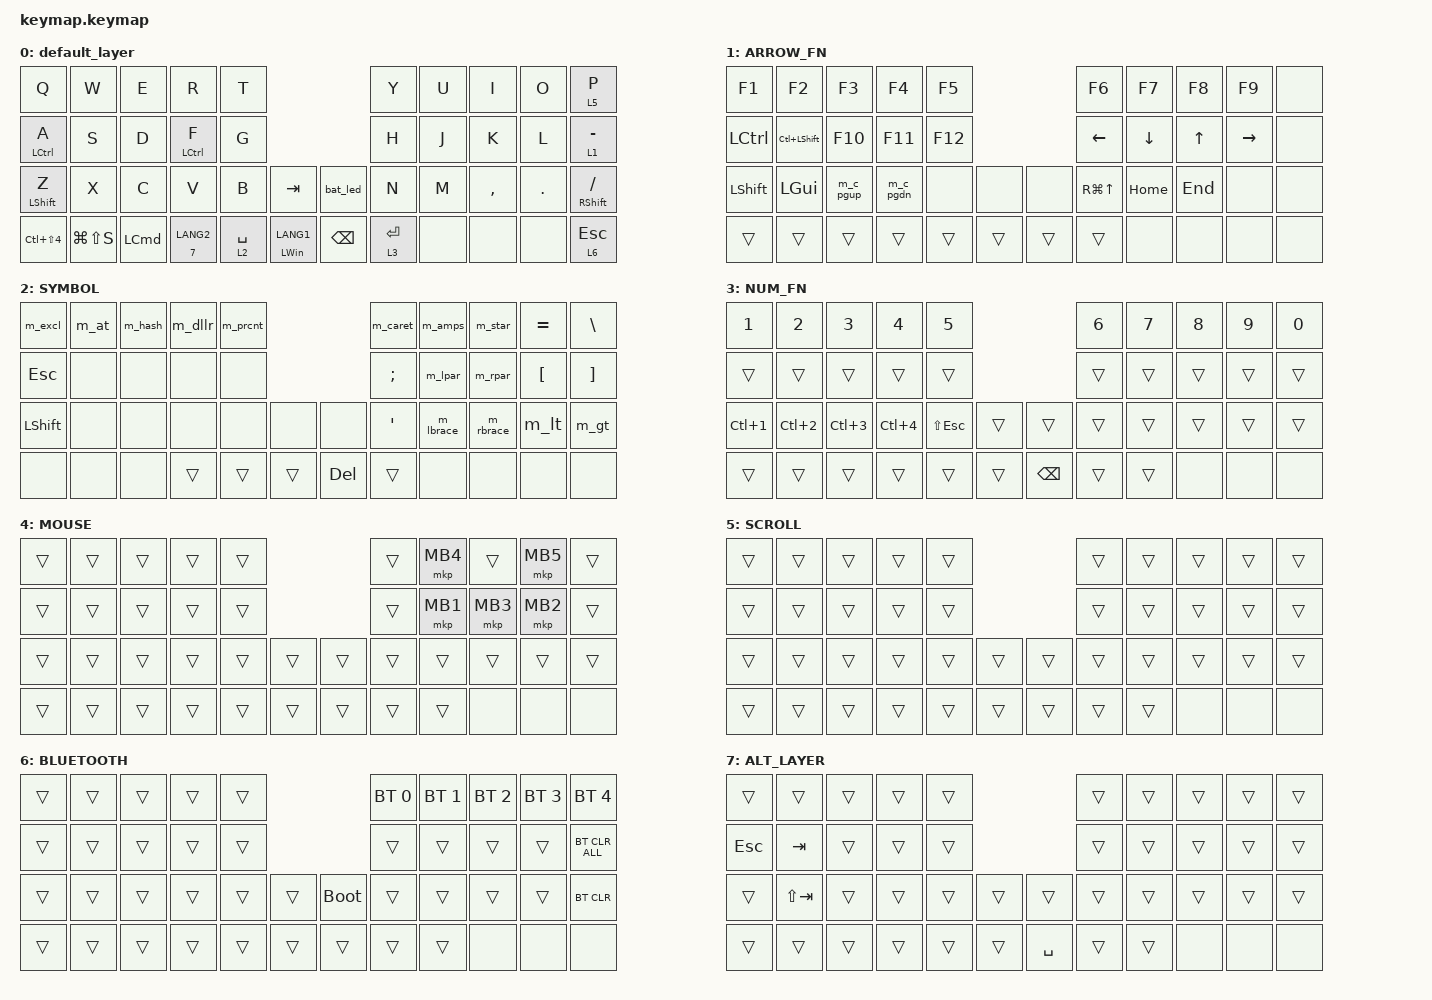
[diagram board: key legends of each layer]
/*
 * torabo-tsuki LP キーマップ設定 (zmk-config-roBa 移植版)
 * - レイヤー定義 (0:default 1:ARROW_FN 2:SYMBOL 3:NUM_FN 4:MOUSE 5:SCROLL 6:BLUETOOTH 7:ALT_LAYER)
 * - コンボ
 * - マクロ
 */

#define ZMK_POINTING_DEFAULT_SCRL_VAL 80

#include <behaviors.dtsi>
#include <dt-bindings/zmk/bt.h>
#include <dt-bindings/zmk/keys.h>
#include <dt-bindings/zmk/pointing.h>

&mt {
    flavor = "balanced";
    quick-tap-ms = <0>;
    tapping-term-ms = <180>;
};

&caps_word { continue-list = <UNDERSCORE MINUS BACKSPACE DELETE SPACE>; };

/ {
    combos {
        compatible = "zmk,combos";

        tab {
            bindings = <&kp TAB>;
            key-positions = <12 13>; // D+F
        };

        eq {
            bindings = <&kp EQUAL>;
            key-positions = <16 17>; // J+K
        };

        tilde {
            bindings = <&kp GRAVE>;
            key-positions = <6 7>; // U+I
        };

        bq {
            bindings = <&kp BACKSLASH>;
            key-positions = <28 29>; // M+,
        };

        layout_shift_on {
            bindings = <&tog_ls_on>;
            key-positions = <9 19>; // P+-
        };

        layout_shift_off {
            bindings = <&tog_ls_off>;
            key-positions = <19 31>; // -+/
        };

        esc {
            bindings = <&kp ESCAPE>;
            key-positions = <0 1>; // Q+W
        };
    };

    macros {
        to_layer_0: to_layer_0 {
            compatible = "zmk,behavior-macro-one-param";
            #binding-cells = <1>;
            bindings = <&to 0 &macro_param_1to1 &kp MACRO_PLACEHOLDER>;
            label = "TO_LAYER_0";
        };

        // Shifted symbols for Remote Desktop compatibility

        m_excl: m_excl {
            compatible = "zmk,behavior-macro";
            #binding-cells = <0>;
            bindings =
                <&macro_press>,
                <&kp LSHFT>,
                <&macro_tap>,
                <&kp N1>,
                <&macro_release>,
                <&kp LSHFT>;
        };

        m_at: m_at {
            compatible = "zmk,behavior-macro";
            #binding-cells = <0>;
            bindings =
                <&macro_press>,
                <&kp LSHFT>,
                <&macro_tap>,
                <&kp N2>,
                <&macro_release>,
                <&kp LSHFT>;
        };

        m_hash: m_hash {
            compatible = "zmk,behavior-macro";
            #binding-cells = <0>;
            bindings =
                <&macro_press>,
                <&kp LSHFT>,
                <&macro_tap>,
                <&kp N3>,
                <&macro_release>,
                <&kp LSHFT>;
        };

        m_dllr: m_dllr {
            compatible = "zmk,behavior-macro";
            #binding-cells = <0>;
            bindings =
                <&macro_press>,
                <&kp LSHFT>,
                <&macro_tap>,
                <&kp N4>,
                <&macro_release>,
                <&kp LSHFT>;
        };

        m_prcnt: m_prcnt {
            compatible = "zmk,behavior-macro";
            #binding-cells = <0>;
            bindings =
                <&macro_press>,
                <&kp LSHFT>,
                <&macro_tap>,
                <&kp N5>,
                <&macro_release>,
                <&kp LSHFT>;
        };

        m_caret: m_caret {
            compatible = "zmk,behavior-macro";
            #binding-cells = <0>;
            bindings =
                <&macro_press>,
                <&kp LSHFT>,
                <&macro_tap>,
                <&kp N6>,
                <&macro_release>,
                <&kp LSHFT>;
        };

        m_amps: m_amps {
            compatible = "zmk,behavior-macro";
            #binding-cells = <0>;
            bindings =
                <&macro_press>,
                <&kp LSHFT>,
                <&macro_tap>,
                <&kp N7>,
                <&macro_release>,
                <&kp LSHFT>;
        };

        m_star: m_star {
            compatible = "zmk,behavior-macro";
            #binding-cells = <0>;
            bindings =
                <&macro_press>,
                <&kp LSHFT>,
                <&macro_tap>,
                <&kp N8>,
                <&macro_release>,
                <&kp LSHFT>;
        };

        m_lpar: m_lpar {
            compatible = "zmk,behavior-macro";
            #binding-cells = <0>;
            bindings =
                <&macro_press>,
                <&kp LSHFT>,
                <&macro_tap>,
                <&kp N9>,
                <&macro_release>,
                <&kp LSHFT>;
        };

        m_rpar: m_rpar {
            compatible = "zmk,behavior-macro";
            #binding-cells = <0>;
            bindings =
                <&macro_press>,
                <&kp LSHFT>,
                <&macro_tap>,
                <&kp N0>,
                <&macro_release>,
                <&kp LSHFT>;
        };

        m_lbrace: m_lbrace {
            compatible = "zmk,behavior-macro";
            #binding-cells = <0>;
            bindings =
                <&macro_press>,
                <&kp LSHFT>,
                <&macro_tap>,
                <&kp LBKT>,
                <&macro_release>,
                <&kp LSHFT>;
        };

        m_rbrace: m_rbrace {
            compatible = "zmk,behavior-macro";
            #binding-cells = <0>;
            bindings =
                <&macro_press>,
                <&kp LSHFT>,
                <&macro_tap>,
                <&kp RBKT>,
                <&macro_release>,
                <&kp LSHFT>;
        };

        m_dqt: m_dqt {
            compatible = "zmk,behavior-macro";
            #binding-cells = <0>;
            bindings =
                <&macro_press>,
                <&kp LSHFT>,
                <&macro_tap>,
                <&kp SQT>,
                <&macro_release>,
                <&kp LSHFT>;
        };

        m_colon: m_colon {
            compatible = "zmk,behavior-macro";
            #binding-cells = <0>;
            bindings =
                <&macro_press>,
                <&kp LSHFT>,
                <&macro_tap>,
                <&kp SEMICOLON>,
                <&macro_release>,
                <&kp LSHFT>;
        };

        m_lt: m_lt {
            compatible = "zmk,behavior-macro";
            #binding-cells = <0>;
            bindings =
                <&macro_press>,
                <&kp LSHFT>,
                <&macro_tap>,
                <&kp COMMA>,
                <&macro_release>,
                <&kp LSHFT>;
        };

        m_gt: m_gt {
            compatible = "zmk,behavior-macro";
            #binding-cells = <0>;
            bindings =
                <&macro_press>,
                <&kp LSHFT>,
                <&macro_tap>,
                <&kp PERIOD>,
                <&macro_release>,
                <&kp LSHFT>;
        };

        m_crlf: m_crlf {
            compatible = "zmk,behavior-macro";
            #binding-cells = <0>;
            bindings = <&macro_tap>, <&kp BACKSLASH &kp R &kp BACKSLASH &kp N>;
        };

        m_lf: m_lf {
            compatible = "zmk,behavior-macro";
            #binding-cells = <0>;
            bindings = <&macro_tap>, <&kp BACKSLASH &kp N>;
        };

        m_c_pgup: m_c_pgup {
            compatible = "zmk,behavior-macro";
            #binding-cells = <0>;
            wait-ms = <0>;
            tap-ms = <0>;
            bindings =
                <&macro_press>,
                <&kp LCTRL>,
                <&macro_tap>,
                <&kp PAGE_UP>,
                <&macro_release>,
                <&kp LCTRL>;
        };

        m_c_pgdn: m_c_pgdn {
            compatible = "zmk,behavior-macro";
            #binding-cells = <0>;
            wait-ms = <0>;
            tap-ms = <0>;
            bindings =
                <&macro_press>,
                <&kp LCTRL>,
                <&macro_tap>,
                <&kp PAGE_DOWN>,
                <&macro_release>,
                <&kp LCTRL>;
        };

        // Layer-mod: holds LALT + activates specified layer

        lm: lm {
            compatible = "zmk,behavior-macro-one-param";
            #binding-cells = <1>;
            wait-ms = <0>;
            tap-ms = <0>;
            bindings =
                <&macro_press>,
                <&kp LALT &macro_param_1to1>,
                <&macro_press>,
                <&mo MACRO_PLACEHOLDER>,
                <&macro_pause_for_release>,
                <&macro_param_1to1>,
                <&macro_release>,
                <&mo MACRO_PLACEHOLDER>,
                <&macro_release>,
                <&kp LALT>;
        };
    };

    behaviors {
        // 電池残量をLEDの点滅回数(1〜5回)で表示する
        // 注意: splitで両手に届くようノード名は8文字以内にすること

        bat_led: bat_led {
            compatible = "zmk,behavior-battery-led";
            #binding-cells = <0>;
            led = <&status_led>;
            blink-ms = <150>;
            pause-ms = <250>;
        };

        // Keep the original key_press behavior for ZMK core components

        original_key_press: original_key_press {
            compatible = "zmk,behavior-key-press";
            #binding-cells = <1>;
            label = "KEY_PRESS";
        };

        // Override &kp for layout shift (Keymap Editor compatible)

        kp: key_press {
            compatible = "zmk,behavior-layout-shift-key-press";
            #binding-cells = <1>;
            label = "LAYOUT_SHIFT_KEY_PRESS";
        };

        tog_ls: toggle_layout_shift {
            compatible = "zmk,behavior-layout-shift-toggle";
            #binding-cells = <0>;
            toggle-mode = "flip";
            label = "LAYOUT_SHIFT_TOGGLE";
        };

        tog_ls_on: toggle_layout_shift_on {
            compatible = "zmk,behavior-layout-shift-toggle";
            #binding-cells = <0>;
            toggle-mode = "on";
            label = "LAYOUT_SHIFT_TOGGLE_ON";
        };

        tog_ls_off: toggle_layout_shift_off {
            compatible = "zmk,behavior-layout-shift-toggle";
            #binding-cells = <0>;
            toggle-mode = "off";
            label = "LAYOUT_SHIFT_TOGGLE_OFF";
        };

        lt_to_layer_0: lt_to_layer_0 {
            compatible = "zmk,behavior-hold-tap";
            label = "LAYER_TAP_TO_0";
            bindings = <&mo>, <&to_layer_0>;

            #binding-cells = <2>;
            tapping-term-ms = <180>;
            flavor = "hold-preferred";
        };

        // Hold: ALT + layer, Tap: key

        alt_lt: alt_lt {
            compatible = "zmk,behavior-hold-tap";
            label = "ALT_LAYER_TAP";
            #binding-cells = <2>;
            tapping-term-ms = <180>;
            flavor = "balanced";
            bindings = <&lm>, <&kp>;
        };
    };

    keymap {
        compatible = "zmk,keymap";

        default_layer {
            bindings = <
&kp Q             &kp W          &kp E             &kp R               &kp T                                           &kp Y        &kp U  &kp I      &kp O    &lt 5 P
&mt LCTRL A       &kp S          &kp D             &mt LEFT_CONTROL F  &kp G                                           &kp H        &kp J  &kp K      &kp L    &lt 1 MINUS
&mt LEFT_SHIFT Z  &kp X          &kp C             &kp V               &kp B        &kp TAB             &bat_led       &kp N        &kp M  &kp COMMA  &kp DOT  &mt RIGHT_SHIFT SLASH
&kp LC(LS(N4))    &kp LG(LS(S))  &kp LEFT_COMMAND  &alt_lt 7 LANG2     &lt 2 SPACE  &mt LEFT_WIN LANG1  &kp BACKSPACE  &lt 3 ENTER  &none  &none      &none    &lt 6 ESCAPE
            >;
        };

        ARROW_FN {
            bindings = <
&kp F1            &kp F2              &kp F3     &kp F4     &kp F5                   &kp F6            &kp F7          &kp F8        &kp F9           &none
&kp LEFT_CONTROL  &kp LC(LEFT_SHIFT)  &kp F10    &kp F11    &kp F12                  &kp LEFT_ARROW    &kp DOWN_ARROW  &kp UP_ARROW  &kp RIGHT_ARROW  &none
&kp LEFT_SHIFT    &kp LEFT_GUI        &m_c_pgup  &m_c_pgdn  &none    &none   &none   &kp RG(UP_ARROW)  &kp HOME        &kp END       &none            &none
&trans            &trans              &trans     &trans     &trans   &trans  &trans  &trans            &none           &none         &none            &none
            >;
        };

        SYMBOL {
            bindings = <
&m_excl         &m_at  &m_hash  &m_dllr  &m_prcnt                   &m_caret          &m_amps    &m_star    &kp EQUAL         &kp BACKSLASH
&kp ESC         &none  &none    &none    &none                      &kp SEMICOLON     &m_lpar    &m_rpar    &kp LEFT_BRACKET  &kp RIGHT_BRACKET
&kp LEFT_SHIFT  &none  &none    &none    &none     &none   &none    &kp SINGLE_QUOTE  &m_lbrace  &m_rbrace  &m_lt             &m_gt
&none           &none  &none    &trans   &trans    &trans  &kp DEL  &trans            &none      &none      &none             &none
            >;
        };

        NUM_FN {
            bindings = <
&kp N1            &kp N2            &kp N3            &kp N4            &kp N5                                 &kp N6  &kp N7  &kp N8  &kp N9  &kp N0
&trans            &trans            &trans            &trans            &trans                                 &trans  &trans  &trans  &trans  &trans
&kp LC(NUMBER_1)  &kp LC(NUMBER_2)  &kp LC(NUMBER_3)  &kp LC(NUMBER_4)  &kp LS(ESCAPE)  &trans  &trans         &trans  &trans  &trans  &trans  &trans
&trans            &trans            &trans            &trans            &trans          &trans  &kp BACKSPACE  &trans  &trans  &none   &none   &none
            >;
        };

        MOUSE {
            bindings = <
&trans  &trans  &trans  &trans  &trans                  &trans  &mkp MB4  &trans    &mkp MB5  &trans
&trans  &trans  &trans  &trans  &trans                  &trans  &mkp MB1  &mkp MB3  &mkp MB2  &trans
&trans  &trans  &trans  &trans  &trans  &trans  &trans  &trans  &trans    &trans    &trans    &trans
&trans  &trans  &trans  &trans  &trans  &trans  &trans  &trans  &trans    &none     &none     &none
            >;
        };

        SCROLL {
            bindings = <
&trans  &trans  &trans  &trans  &trans                  &trans  &trans  &trans  &trans  &trans
&trans  &trans  &trans  &trans  &trans                  &trans  &trans  &trans  &trans  &trans
&trans  &trans  &trans  &trans  &trans  &trans  &trans  &trans  &trans  &trans  &trans  &trans
&trans  &trans  &trans  &trans  &trans  &trans  &trans  &trans  &trans  &none   &none   &none
            >;
        };

        BLUETOOTH {
            bindings = <
&trans  &trans  &trans  &trans  &trans                       &bt BT_SEL 0  &bt BT_SEL 1  &bt BT_SEL 2  &bt BT_SEL 3  &bt BT_SEL 4
&trans  &trans  &trans  &trans  &trans                       &trans        &trans        &trans        &trans        &bt BT_CLR_ALL
&trans  &trans  &trans  &trans  &trans  &trans  &bootloader  &trans        &trans        &trans        &trans        &bt BT_CLR
&trans  &trans  &trans  &trans  &trans  &trans  &trans       &trans        &trans        &none         &none         &none
            >;
        };

        ALT_LAYER {
            bindings = <
&trans       &trans       &trans  &trans  &trans                     &trans  &trans  &trans  &trans  &trans
&kp ESC      &kp TAB      &trans  &trans  &trans                     &trans  &trans  &trans  &trans  &trans
&trans       &kp LS(TAB)  &trans  &trans  &trans  &trans  &trans     &trans  &trans  &trans  &trans  &trans
&trans       &trans       &trans  &trans  &trans  &trans  &kp SPACE  &trans  &trans  &none   &none   &none
            >;
        };
    };
};
